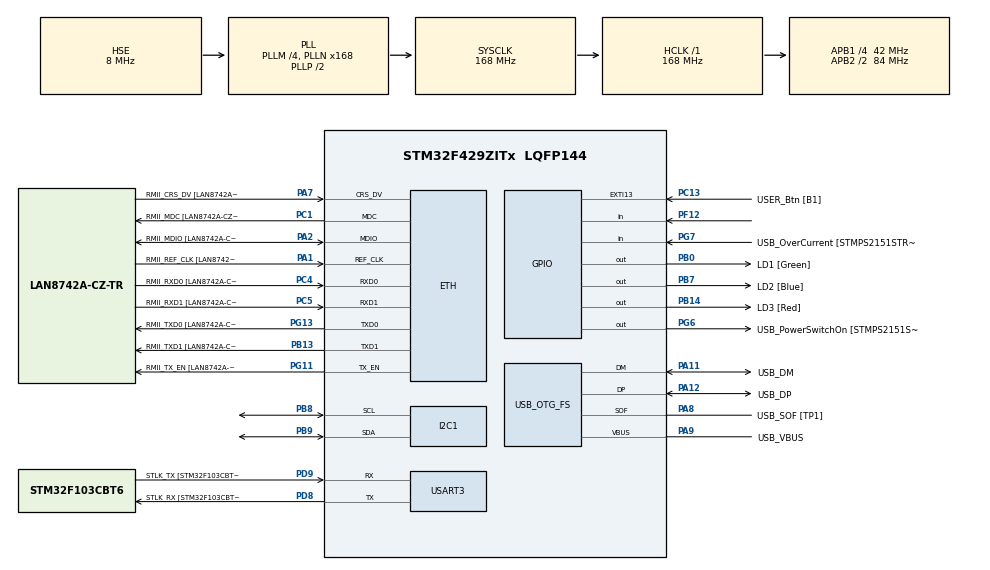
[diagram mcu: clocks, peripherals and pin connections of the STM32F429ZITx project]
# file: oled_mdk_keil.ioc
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ETH.MediaInterface=HAL_ETH_RMII_MODE
ETH.PHY_Name=LAN8742A_PHY_ADDRESS
ETH.PHY_Value=0
ETH.PhyAddress=0
FREERTOS.Tasks01=defaultTask,24,128,StartDefaultTask,Default,NULL,Dynamic,NULL,NULL
I2C1.I2C_Mode=I2C_Fast
Mcu.Family=STM32F4
Mcu.Name=STM32F429ZITx
Mcu.Package=LQFP144
NVIC.PriorityGroup=NVIC_PRIORITYGROUP_4
NVIC.TIM1_UP_TIM10_IRQn=true\:15\:0\:false\:false\:true\:false\:false\:true\:true
NVIC.TIM2_IRQn=true\:5\:0\:false\:false\:true\:true\:true\:true\:true
NVIC.TimeBase=TIM1_UP_TIM10_IRQn
NVIC.TimeBaseIP=TIM1
PA1.GPIO_Label=RMII_REF_CLK [LAN8742A-CZ-TR_REFCLK0]
PA1.Mode=RMII
PA1.Signal=ETH_REF_CLK
PA10.GPIO_Label=USB_ID
PA10.Signal=USB_OTG_FS_ID
PA11.GPIO_Label=USB_DM
PA11.Mode=Device_Only
PA11.Signal=USB_OTG_FS_DM
PA12.GPIO_Label=USB_DP
PA12.Mode=Device_Only
PA12.Signal=USB_OTG_FS_DP
PA13.GPIO_Label=TMS
PA13.Mode=Serial_Wire
PA13.Signal=SYS_JTMS-SWDIO
PA14.GPIO_Label=TCK
PA14.Mode=Serial_Wire
PA14.Signal=SYS_JTCK-SWCLK
PA2.GPIO_Label=RMII_MDIO [LAN8742A-CZ-TR_MDIO]
PA2.Mode=RMII
PA2.Signal=ETH_MDIO
PA7.GPIO_Label=RMII_CRS_DV [LAN8742A-CZ-TR_CRS_DV]
PA7.Mode=RMII
PA7.Signal=ETH_CRS_DV
PA8.GPIO_Label=USB_SOF [TP1]
PA8.Mode=Activate_SOF_FS
PA8.Signal=USB_OTG_FS_SOF
PA9.GPIO_Label=USB_VBUS
PA9.Mode=Activate_VBUS
PA9.Signal=USB_OTG_FS_VBUS
PB0.GPIO_Label=LD1 [Green]
PB0.Signal=GPIO_Output
PB13.GPIO_Label=RMII_TXD1 [LAN8742A-CZ-TR_TXD1]
PB13.Mode=RMII
PB13.Signal=ETH_TXD1
PB14.GPIO_Label=LD3 [Red]
PB14.Signal=GPIO_Output
PB7.GPIO_Label=LD2 [Blue]
PB7.Signal=GPIO_Output
PB8.Mode=I2C
PB8.Signal=I2C1_SCL
PB9.Mode=I2C
PB9.Signal=I2C1_SDA
PC1.GPIO_Label=RMII_MDC [LAN8742A-CZ-TR_MDC]
PC1.Mode=RMII
PC1.Signal=ETH_MDC
PC13.GPIO_Label=USER_Btn [B1]
PC13.Signal=GPXTI13
PC14/OSC32_IN.Mode=LSE-External-Oscillator
PC14/OSC32_IN.Signal=RCC_OSC32_IN
PC15/OSC32_OUT.Mode=LSE-External-Oscillator
PC15/OSC32_OUT.Signal=RCC_OSC32_OUT
PC4.GPIO_Label=RMII_RXD0 [LAN8742A-CZ-TR_RXD0]
PC4.Mode=RMII
PC4.Signal=ETH_RXD0
PC5.GPIO_Label=RMII_RXD1 [LAN8742A-CZ-TR_RXD1]
PC5.Mode=RMII
PC5.Signal=ETH_RXD1
PD8.GPIO_Label=STLK_RX [STM32F103CBT6_PA3]
PD8.Mode=Asynchronous
PD8.Signal=USART3_TX
PD9.GPIO_Label=STLK_TX [STM32F103CBT6_PA2]
PD9.Mode=Asynchronous
PD9.Signal=USART3_RX
PF12.Signal=GPIO_Input
PG11.GPIO_Label=RMII_TX_EN [LAN8742A-CZ-TR_TXEN]
PG11.Mode=RMII
PG11.Signal=ETH_TX_EN
PG13.GPIO_Label=RMII_TXD0 [LAN8742A-CZ-TR_TXD0]
PG13.Mode=RMII
PG13.Signal=ETH_TXD0
PG6.GPIO_Label=USB_PowerSwitchOn [STMPS2151STR_EN]
PG6.Signal=GPIO_Output
PG7.GPIO_Label=USB_OverCurrent [STMPS2151STR_FAULT]
PG7.Signal=GPIO_Input
PH0/OSC_IN.GPIO_Label=MCO [STM32F103CBT6_PA8]
PH0/OSC_IN.Mode=HSE-External-Oscillator
PH0/OSC_IN.Signal=RCC_OSC_IN
PH1/OSC_OUT.Mode=HSE-External-Oscillator
PH1/OSC_OUT.Signal=RCC_OSC_OUT
ProjectManager.HeapSize=0x200
ProjectManager.StackSize=0x400
ProjectManager.TargetToolchain=MDK-ARM V5.32
RCC.48MHZClocksFreq_Value=48000000
RCC.AHBFreq_Value=168000000
RCC.APB1CLKDivider=RCC_HCLK_DIV4
RCC.APB1Freq_Value=42000000
RCC.APB1TimFreq_Value=84000000
RCC.APB2CLKDivider=RCC_HCLK_DIV2
RCC.APB2Freq_Value=84000000
RCC.APB2TimCLKDivider=2
RCC.APB2TimFreq_Value=168000000
RCC.CortexFreq_Value=168000000
RCC.HCLKFreq_Value=168000000
RCC.HSE_VALUE=8000000
RCC.HSI_VALUE=16000000
RCC.PLLM=4
RCC.PLLMUL=RCC_PLL_MUL9
RCC.PLLN=168
RCC.PLLQ=7
RCC.PRESCALERUSB=RCC_USBCLKSOURCE_PLL_DIV1_5
RCC.SYSCLKFreq_VALUE=168000000
RCC.SYSCLKSource=RCC_SYSCLKSOURCE_PLLCLK
RCC.SYSCLKSourceVirtual=RCC_SYSCLKSOURCE_PLLCLK
RCC.USBFreq_Value=48000000
RCC.VCOOutputFreq_Value=336000000
TIM2.Prescaler=83
USART3.VirtualMode=VM_ASYNC
USB_OTG_FS.VirtualMode=Device_Only
VP_FREERTOS_VS_CMSIS_V2.Mode=CMSIS_V2
VP_SYS_VS_tim1.Mode=TIM1
VP_TIM2_VS_ClockSourceINT.Mode=Internal
board=NUCLEO-F429ZI

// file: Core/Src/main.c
/* USER CODE BEGIN Header */
/**
  ******************************************************************************
  * @file           : main.c
  * @brief          : Main program body
  ******************************************************************************
  * @attention
  *
  * Copyright (c) 2023 STMicroelectronics.
  * All rights reserved.
  *
  * This software is licensed under terms that can be found in the LICENSE file
  * in the root directory of this software component.
  * If no LICENSE file comes with this software, it is provided AS-IS.
  *
  ******************************************************************************
  */
/* USER CODE END Header */
#include "main.h"
#include "cmsis_os.h"
#include "eth.h"
#include "i2c.h"
#include "tim.h"
#include "usart.h"
#include "usb_otg.h"
#include "gpio.h"

/* USER CODE BEGIN Includes */
#include "FreeRTOS.h"
#include "queue.h"
#include "semphr.h"
#include "task.h"
#include "oled.h"
#include "u8g2.h"
//#include "stdlib.h"
#include "stdio.h"
/* USER CODE END Includes */

/* USER CODE BEGIN PD */
#define DHT11_PORT GPIOF
#define DHT11_PIN GPIO_PIN_12
/* USER CODE END PD */

/* USER CODE BEGIN PV */
QueueHandle_t queueTemp;
QueueHandle_t queueHumi;
//SemaphoreHandle_t xMutex;
SemaphoreHandle_t xSem;
TaskHandle_t handleOled;
TaskHandle_t handleDHT11;
TaskHandle_t handleBlank;
//oled
u8g2_t u8g2;
/* USER CODE END PV */

void SystemClock_Config(void);
void MX_FREERTOS_Init(void);

/* USER CODE BEGIN 0 */
void delayMicroSecond(uint32_t time){
	__HAL_TIM_SET_COUNTER(&htim2, 0);//set counter 0
	__HAL_TIM_ENABLE(&htim2);//start counter
	while(__HAL_TIM_GET_COUNTER(&htim2) < time){
	}
	__HAL_TIM_DISABLE(&htim2);//close counter
}

void setPinOutput(GPIO_TypeDef *GPIOx, uint16_t GPIO_PIN){
	GPIO_InitTypeDef GPIO_InitStruct;
	GPIO_InitStruct.Pin = GPIO_PIN;
	GPIO_InitStruct.Mode = GPIO_MODE_OUTPUT_OD;
	GPIO_InitStruct.Speed = GPIO_SPEED_FREQ_HIGH;
	HAL_GPIO_Init(GPIOx, &GPIO_InitStruct);
}

void setPinInput(GPIO_TypeDef *GPIOx, uint16_t GPIO_PIN){
	GPIO_InitTypeDef GPIO_InitStruct;
	GPIO_InitStruct.Pin = GPIO_PIN;
	GPIO_InitStruct.Mode = GPIO_MODE_INPUT;
	GPIO_InitStruct.Pull = GPIO_PULLUP;
	HAL_GPIO_Init(GPIOx, &GPIO_InitStruct);
}

uint8_t dht11RstCheck(){
	uint8_t timer = 0;
	setPinOutput(DHT11_PORT, DHT11_PIN);
	HAL_GPIO_WritePin(DHT11_PORT, DHT11_PIN, GPIO_PIN_RESET);
	delayMicroSecond(20000);
	HAL_GPIO_WritePin(DHT11_PORT, DHT11_PIN, GPIO_PIN_SET);
	delayMicroSecond(30);
	setPinInput(DHT11_PORT, DHT11_PIN);

	while(!HAL_GPIO_ReadPin(DHT11_PORT, DHT11_PIN)){
		timer ++;
		delayMicroSecond(1);
	}
	if(timer > 100 || timer < 20){
		return 0;
	}

	timer = 0;
	while(HAL_GPIO_ReadPin(DHT11_PORT, DHT11_PIN)){
		timer ++;
		delayMicroSecond(1);
	}
	if(timer >100 || timer < 20){
		return 0;
	}

	return 1;
}

uint8_t DHT11ReadByte(){
	uint8_t byte;
	for(int i = 0; i < 8;i ++){
		while(HAL_GPIO_ReadPin(DHT11_PORT, DHT11_PIN));
		while(!HAL_GPIO_ReadPin(DHT11_PORT, DHT11_PIN));

		delayMicroSecond(40);
		byte <<= 1;
		if(HAL_GPIO_ReadPin(DHT11_PORT, DHT11_PIN)){
			byte |= 0x01;
		}
	}
	return byte;
}

uint8_t DHT11GetData(float *Humi, float *Temp){
	int8_t sta = 0;
	uint8_t buffer[5];
	if(dht11RstCheck()){
		for(int i = 0; i< 5 ;i++){
			buffer[i] = DHT11ReadByte();
		}
		if(buffer[0] + buffer[1] + buffer[2] + buffer[3] == buffer[4]){
			uint8_t humiInt = buffer[0];
			uint8_t humiFloat = buffer[1];
			uint8_t tempInt = buffer[2];
			uint8_t tempFloat = buffer[3];
			char tmpHumi[8];
			char tmpTemp[8];
			snprintf(tmpHumi, 8 , "%d.%d",humiInt, humiFloat);
			snprintf(tmpTemp, 8, "%d.%d", tempInt, tempFloat);
			sscanf(tmpHumi, "%f", Humi);
			sscanf(tmpTemp, "%f", Temp);
		}
		sta = 0;
	}
	else
	{
		*Humi = 99;
		*Temp = 99;
		sta = -1;
	}
	return sta;
}
void taskOledControll(void *pvParm){
	uint8_t rstCounter = 0;
	u8g2Init(&u8g2);
	u8g2_ClearBuffer(&u8g2);
	u8g2_ClearDisplay(&u8g2);
	u8g2_SetFont(&u8g2,u8g2_font_DigitalDiscoThin_tf);
	u8g2_DrawStr(&u8g2, 0, 20,"Waiting");
	u8g2_DrawStr(&u8g2, 0, 40, "DHT11 Response");
	u8g2_SendBuffer(&u8g2);
	for(;;){
		HAL_GPIO_WritePin(GPIOB, LD2_Pin, 0);
		HAL_GPIO_WritePin(GPIOB, LD1_Pin, 1);

		float Temp = 0;
		float Humi = 0;
		char strTemp[32];
		char strHumi[32];
		char strMemOled[32];

//		BaseType_t receiveHumi = xQueueReceive(queueHumi, &Humi, pdMS_TO_TICKS(3000));
//		BaseType_t receiveTemp = xQueueReceive(queueTemp, &Temp, pdMS_TO_TICKS(3000));
		if((xQueueReceive(queueHumi, &Humi, pdMS_TO_TICKS(3000)) == pdPASS) && (xQueueReceive(queueTemp, &Temp, pdMS_TO_TICKS(3000)) == pdPASS)){
			rstCounter = 0;
			snprintf(strTemp, 32, "Temp:%.1f C", Temp);
			snprintf(strHumi, 32, "Humi:%.1f %%", Humi);
			u8g2_ClearBuffer(&u8g2);
			u8g2_DrawStr(&u8g2, 0, 20,strTemp);
			u8g2_DrawStr(&u8g2, 0, 40, strHumi);
			//uxTaskGetStackHighWaterMark(handleOled) >> 從task創建到現在所剩餘的最小記憶體
			UBaseType_t memOled = 512 - uxTaskGetStackHighWaterMark(handleOled);
			snprintf(strMemOled, 32, "useMemOled:%lu", memOled);
			u8g2_DrawStr(&u8g2, 0, 60, strMemOled);
			u8g2_SendBuffer(&u8g2);
		}
		else{
			taskYIELD();//queue 如果是空的，直接讓出資源
		}

		vTaskDelay(100);
	}
}

void taskDHT11(void *pvParm){
	for(;;){
		HAL_GPIO_WritePin(GPIOB, LD2_Pin, 1);
		HAL_GPIO_WritePin(GPIOB, LD1_Pin, 0);
		float Temp = 0;
		float Humi = 0;
		HAL_GPIO_TogglePin(GPIOB,LD3_Pin);
		xSemaphoreTake(xSem, portMAX_DELAY);
		DHT11GetData(&Humi, &Temp);

		HAL_GPIO_TogglePin(GPIOB,LD3_Pin);
		//測試semaphore用的阻塞code
//		xSemaphoreTake(xSem, portMAX_DELAY);
//		HAL_GPIO_WritePin(GPIOB,LD3_Pin, 1);
//		vTaskDelay(3000);
//		HAL_GPIO_WritePin(GPIOB,LD3_Pin, 0);
//		xSemaphoreGive(xSem);
		xQueueSend(queueTemp, &Temp, portMAX_DELAY);
		xQueueSend(queueHumi, &Humi, pdMS_TO_TICKS(100));
		vTaskDelay(3000);
		xSemaphoreGive(xSem);
	}

}
void taskBlank(void *pvParm){
	uint8_t counter = 0;
	vTaskPrioritySet(handleBlank, 1);
	for(;;){
		counter ++;
		if(counter < 10){
			HAL_GPIO_TogglePin(GPIOB, LD3_Pin);
		}
		else{
			vTaskSuspend(handleBlank);
//			vTaskResume(handleBlank);
		}
		vTaskDelay(500);
	}
}
/* USER CODE END 0 */

int main(void)
{

  /* MCU Configuration--------------------------------------------------------*/

  /* Reset of all peripherals, Initializes the Flash interface and the Systick. */
  HAL_Init();

  /* Configure the system clock */
  SystemClock_Config();

  /* Initialize all configured peripherals */
  MX_GPIO_Init();
  MX_ETH_Init();
  MX_I2C1_Init();
  MX_USART3_UART_Init();
  MX_USB_OTG_FS_PCD_Init();
  MX_TIM2_Init();
  /* USER CODE BEGIN 2 */
	queueTemp = xQueueCreate(5, 4);
	queueHumi = xQueueCreate(5, 4);
//	xMutex = xSemaphoreCreateMutex();
	xSem = xSemaphoreCreateBinary();
	xTaskCreate(taskOledControll, "display", 512, NULL, 1, &handleOled);
	xTaskCreate(taskDHT11, "sensorDHT11", 1200, NULL, 2, &handleDHT11);
	//xTaskCreate(taskBlank, "blank", 128, NULL, 1, &handleBlank);

	xSemaphoreGive(xSem);
	vTaskStartScheduler();
  /* USER CODE END 2 */

  /* Init scheduler */
  //osKernelInitialize();  /* Call init function for freertos objects (in freertos.c) */
  //MX_FREERTOS_Init();

  /* Start scheduler */
  //osKernelStart();

  /* We should never get here as control is now taken by the scheduler */
  /* Infinite loop */
  /* USER CODE BEGIN WHILE */
//	u8g2Init(&u8g2);
//	u8g2_ClearBuffer(&u8g2);
//	u8g2_ClearDisplay(&u8g2);
//	u8g2_SetFont(&u8g2,u8g2_font_DigitalDiscoThin_tf);
//	int count = 0;
  while (1)
  {
//		count ++;
//		float Temp = 0;
//		float Humi = 0;
//		char strTemp[32];
//		char strHumi[32];
//		DHT11GetData(&Humi, &Temp);
//		snprintf(strTemp, 32, "Temp:%.2f C", Temp);
//		snprintf(strHumi, 32, "Humi:%.2f %%", Humi);
//		u8g2_ClearBuffer(&u8g2);
//		u8g2_DrawStr(&u8g2, 0, 20,strTemp);
//		u8g2_DrawStr(&u8g2, 0, 30, strHumi);
//		u8g2_SendBuffer(&u8g2);
//		HAL_Delay(3000);
    /* USER CODE END WHILE */

  }
}

void SystemClock_Config(void)
{
  RCC_OscInitTypeDef RCC_OscInitStruct = {0};
  RCC_ClkInitTypeDef RCC_ClkInitStruct = {0};

  /** Configure the main internal regulator output voltage
  */
  __HAL_RCC_PWR_CLK_ENABLE();
  __HAL_PWR_VOLTAGESCALING_CONFIG(PWR_REGULATOR_VOLTAGE_SCALE1);

  /** Initializes the RCC Oscillators according to the specified parameters
  * in the RCC_OscInitTypeDef structure.
  */
  RCC_OscInitStruct.OscillatorType = RCC_OSCILLATORTYPE_HSE;
  RCC_OscInitStruct.HSEState = RCC_HSE_ON;
  RCC_OscInitStruct.PLL.PLLState = RCC_PLL_ON;
  RCC_OscInitStruct.PLL.PLLSource = RCC_PLLSOURCE_HSE;
  RCC_OscInitStruct.PLL.PLLM = 4;
  RCC_OscInitStruct.PLL.PLLN = 168;
  RCC_OscInitStruct.PLL.PLLP = RCC_PLLP_DIV2;
  RCC_OscInitStruct.PLL.PLLQ = 7;
  if (HAL_RCC_OscConfig(&RCC_OscInitStruct) != HAL_OK)
  {
    Error_Handler();
  }

  /** Initializes the CPU, AHB and APB buses clocks
  */
  RCC_ClkInitStruct.ClockType = RCC_CLOCKTYPE_HCLK|RCC_CLOCKTYPE_SYSCLK
                              |RCC_CLOCKTYPE_PCLK1|RCC_CLOCKTYPE_PCLK2;
  RCC_ClkInitStruct.SYSCLKSource = RCC_SYSCLKSOURCE_PLLCLK;
  RCC_ClkInitStruct.AHBCLKDivider = RCC_SYSCLK_DIV1;
  RCC_ClkInitStruct.APB1CLKDivider = RCC_HCLK_DIV4;
  RCC_ClkInitStruct.APB2CLKDivider = RCC_HCLK_DIV2;

  if (HAL_RCC_ClockConfig(&RCC_ClkInitStruct, FLASH_LATENCY_5) != HAL_OK)
  {
    Error_Handler();
  }
}

void HAL_TIM_PeriodElapsedCallback(TIM_HandleTypeDef *htim)
{
  if (htim->Instance == TIM1) {
    HAL_IncTick();
  }
}

void Error_Handler(void)
{
  __disable_irq();
  while (1)
  {
  }
}
